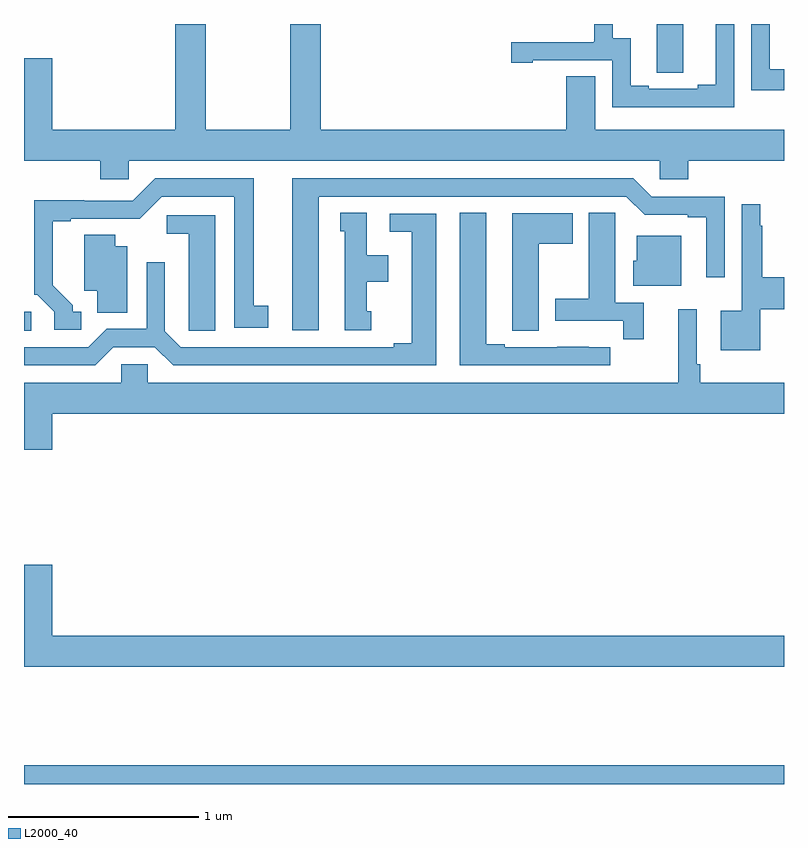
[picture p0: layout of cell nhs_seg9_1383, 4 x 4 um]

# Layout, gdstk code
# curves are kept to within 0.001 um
import gdstk
lib = gdstk.Library(unit=1e-6, precision=1e-09)
def R(c, l, rs):  # rectangles x0, y0, x1, y1
    for r in rs: c.add(gdstk.rectangle(r[:2], r[2:], *l))
def P(c, l, *ps):  # polygons
    for p in ps: c.add(gdstk.Polygon(p, *l))
L2000_40 = (2000, 40)

nhs_seg9_1383 = lib.new_cell('nhs_seg9_1383')
R(nhs_seg9_1383, L2000_40, [(189,1166.5,193,1166.6), (189,1168.885,189.037,1168.986)])
P(nhs_seg9_1383, L2000_40, [(193,1170.262),(192.925,1170.262),(192.925,1170.5),(192.828,1170.5),(192.828,1170.152),(193,1170.152)],
  [(189.552,1169.78),(192.345,1169.78),(192.345,1169.682),(192.497,1169.682),(192.497,1169.78),(193,1169.78),(193,1169.944),(192.007,1169.944),(192.007,1170.224),(191.855,1170.224),(191.855,1169.944),(190.562,1169.944),(190.562,1170.5),(190.402,1170.5),(190.402,1169.944),(189.957,1169.944),(189.957,1170.5),(189.797,1170.5),(189.797,1169.944),(189.148,1169.944),(189.148,1170.319),(189,1170.319),(189,1169.78),(189.401,1169.78),(189.401,1169.682),(189.552,1169.682)],
  [(192.469,1170.5),(192.329,1170.5),(192.329,1170.352),(192.33,1170.352),(192.33,1170.244),(192.469,1170.244)],
  [(192.738,1170.5),(192.641,1170.5),(192.641,1170.179),(192.545,1170.179),(192.545,1170.159),(192.289,1170.159),(192.289,1170.174),(192.193,1170.174),(192.193,1170.425),(192.099,1170.425),(192.099,1170.5),(192,1170.5),(192,1170.406),(191.999,1170.406),(191.999,1170.405),(191.565,1170.405),(191.565,1170.297),(191.677,1170.297),(191.677,1170.309),(192.096,1170.309),(192.096,1170.063),(192.738,1170.063)],
  [(190.552,1169.592),(192.171,1169.592),(192.267,1169.496),(192.494,1169.496),(192.494,1169.484),(192.59,1169.484),(192.59,1169.166),(192.687,1169.166),(192.687,1169.592),(192.303,1169.592),(192.207,1169.688),(190.412,1169.688),(190.412,1168.887),(190.552,1168.887)],
  [(189.301,1168.986),(189.256,1168.986),(189.256,1169.021),(189.151,1169.126),(189.151,1169.463),(189.247,1169.463),(189.247,1169.475),(189.608,1169.474),(189.726,1169.592),(190.106,1169.592),(190.106,1168.902),(190.285,1168.902),(190.285,1169.018),(190.21,1169.018),(190.21,1169.688),(189.69,1169.688),(189.573,1169.571),(189.317,1169.571),(189.317,1169.573),(189.054,1169.573),(189.054,1169.076),(189.069,1169.076),(189.159,1168.986),(189.159,1168.89),(189.301,1168.89)],
  [(192.874,1169),(193,1169),(193,1169.166),(192.886,1169.166),(192.886,1169.438),(192.874,1169.438),(192.874,1169.551),(192.777,1169.551),(192.777,1168.99),(192.668,1168.99),(192.668,1168.784),(192.874,1168.784)],
  [(190.828,1168.989),(190.804,1168.989),(190.804,1169.144),(190.918,1169.144),(190.918,1169.284),(190.804,1169.284),(190.804,1169.507),(190.664,1169.507),(190.664,1169.409),(190.688,1169.409),(190.688,1168.887),(190.828,1168.887)],
  [(192.085,1168.8),(191.972,1168.8),(191.972,1168.801),(191.806,1168.801),(191.806,1168.8),(191.53,1168.8),(191.53,1168.815),(191.434,1168.815),(191.434,1169.507),(191.294,1169.507),(191.294,1168.704),(192.085,1168.704)],
  [(192.263,1169.034),(192.112,1169.034),(192.112,1169.396),(192.111,1169.396),(192.111,1169.507),(191.972,1169.507),(191.972,1169.055),(191.795,1169.055),(191.795,1168.938),(192.154,1168.938),(192.154,1168.842),(192.263,1168.842)],
  [(191.71,1169.344),(191.887,1169.344),(191.887,1169.503),(191.57,1169.503),(191.57,1168.993),(191.571,1168.993),(191.571,1168.885),(191.71,1168.885)],
  [(189.471,1168.8),(189.689,1168.8),(189.785,1168.704),(191.17,1168.704),(191.17,1169.502),(190.926,1169.502),(190.926,1169.406),(191.042,1169.406),(191.042,1168.82),(190.946,1168.82),(190.946,1168.8),(189.825,1168.8),(189.741,1168.884),(189.741,1169.245),(189.645,1169.245),(189.645,1168.896),(189.435,1168.896),(189.339,1168.8),(189,1168.8),(189,1168.704),(189.375,1168.704)],
  [(190.006,1169.493),(189.75,1169.493),(189.75,1169.396),(189.866,1169.396),(189.866,1168.993),(189.867,1168.993),(189.867,1168.885),(190.006,1168.885)],
  [(189.544,1169.329),(189.481,1169.329),(189.481,1169.39),(189.317,1169.39),(189.317,1169.096),(189.386,1169.096),(189.386,1168.981),(189.544,1168.981)],
  [(192.46,1169.386),(192.224,1169.386),(192.224,1169.253),(192.206,1169.253),(192.206,1169.123),(192.46,1169.123)],
  [(189.148,1168.448),(193,1168.448),(193,1168.612),(192.56,1168.612),(192.56,1168.708),(192.54,1168.708),(192.54,1168.999),(192.443,1168.999),(192.443,1168.612),(189.651,1168.612),(189.651,1168.71),(189.513,1168.71),(189.513,1168.612),(189,1168.612),(189,1168.26),(189.148,1168.26)],
  [(193,1167.28),(189.148,1167.28),(189.148,1167.655),(189,1167.655),(189,1167.116),(193,1167.116)])

lib.write_gds('nhs_seg9_1383.gds')
